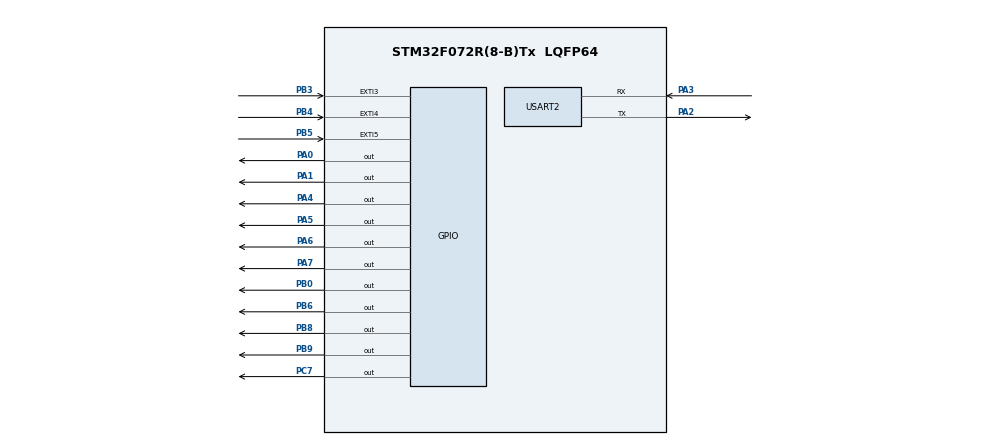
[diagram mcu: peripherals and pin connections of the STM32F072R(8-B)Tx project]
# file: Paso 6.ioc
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Mcu.Family=STM32F0
Mcu.Name=STM32F072R(8-B)Tx
Mcu.Package=LQFP64
NVIC.EXTI2_3_IRQn=true\:0\:0\:false\:false\:true\:true\:true
NVIC.EXTI4_15_IRQn=true\:0\:0\:false\:false\:true\:true\:true
NVIC.TIM1_BRK_UP_TRG_COM_IRQn=true\:0\:0\:false\:false\:true\:true\:true
PA0.Signal=GPIO_Output
PA1.Signal=GPIO_Output
PA13.Mode=Serial_Wire
PA13.Signal=SYS_SWDIO
PA14.Mode=Serial_Wire
PA14.Signal=SYS_SWCLK
PA2.Mode=Asynchronous
PA2.Signal=USART2_TX
PA3.Mode=Asynchronous
PA3.Signal=USART2_RX
PA4.Signal=GPIO_Output
PA5.Signal=GPIO_Output
PA6.Signal=GPIO_Output
PA7.Signal=GPIO_Output
PB0.Signal=GPIO_Output
PB3.Signal=GPXTI3
PB4.Signal=GPXTI4
PB5.Signal=GPXTI5
PB6.Signal=GPIO_Output
PB8.Signal=GPIO_Output
PB9.Signal=GPIO_Output
PC7.Signal=GPIO_Output
ProjectManager.HeapSize=0x600
ProjectManager.StackSize=0x1200
ProjectManager.TargetToolchain=TrueSTUDIO
TIM1.AutoReloadPreload=TIM_AUTORELOAD_PRELOAD_ENABLE
TIM1.Period=53332
TIM1.Prescaler=2999
USART2.VirtualMode-Asynchronous=VM_ASYNC
VP_TIM1_VS_ClockSourceINT.Mode=Internal
board=custom

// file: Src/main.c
/* USER CODE BEGIN Header */
/**
 ******************************************************************************
 * @file           : main.c
 * @brief          : Main program body
 ******************************************************************************
 * @attention
 *
 * <h2><center>&copy; Copyright (c) 2019 STMicroelectronics.
 * All rights reserved.</center></h2>
 *
 * This software component is licensed by ST under BSD 3-Clause license,
 * the "License"; You may not use this file except in compliance with the
 * License. You may obtain a copy of the License at:
 *                        opensource.org/licenses/BSD-3-Clause
 *
 ******************************************************************************
 */
/* USER CODE END Header */

#include "main.h"

/* USER CODE BEGIN Includes */
#include <stdlib.h>
#include <stdio.h>
#include "fsm.h"
#include "simon.h"
#include "uart_printf.h"
/* USER CODE END Includes */

TIM_HandleTypeDef htim1;

UART_HandleTypeDef huart2;

void SystemClock_Config(void);
static void MX_GPIO_Init(void);
static void MX_USART2_UART_Init(void);
static void MX_TIM1_Init(void);

/* USER CODE BEGIN 0 */
static void (*_IRQ_BTN_handler)(void*);
static void (*_IRQ_TMR_handler)(void*);

/* USER CODE END 0 */

int main(void)
{

  /* MCU Configuration--------------------------------------------------------*/

  /* Reset of all peripherals, Initializes the Flash interface and the Systick. */
  HAL_Init();

  /* Configure the system clock */
  SystemClock_Config();

  /* Initialize all configured peripherals */
  MX_GPIO_Init();
  MX_USART2_UART_Init();
  MX_TIM1_Init();
  /* USER CODE BEGIN 2 */
 //HAL_TIM_Base_Start_IT(&htim1); //Start the timer
  HAL_TIM_Base_Init(&htim1);
  //HAL_TIM_Base_Start_IT(&htim1);
	//LED Test
  //uart_printf("Begin! \n");
	simon_t* simon = simon_init(&htim1,HAL_GetTick());
	_IRQ_BTN_handler = simon->_IRQ_Handlers[0];
	_IRQ_TMR_handler = simon->_IRQ_Handlers[1];
	//simon->game_flags |= 0x01;
	//Generic FSM type holder
	/* En caso de que haya mas de 1 maquina de estados podemos meterlas todas
	 dentro de un array del tipo fsm, de esta forma podemos hacer el bucle while generico para disparar
	 todas las maquinas de estados */
	fsm_t* simon_fsm = (fsm_t*)simon;
  /* USER CODE END 2 */

  /* Infinite loop */
	while (1) {

    /* USER CODE BEGIN 3 */
		fsm_fire(simon_fsm);
	}
  /* USER CODE END 3 */
}

void SystemClock_Config(void)
{
  RCC_OscInitTypeDef RCC_OscInitStruct = {0};
  RCC_ClkInitTypeDef RCC_ClkInitStruct = {0};
  RCC_PeriphCLKInitTypeDef PeriphClkInit = {0};

  /** Initializes the CPU, AHB and APB busses clocks
  */
  RCC_OscInitStruct.OscillatorType = RCC_OSCILLATORTYPE_HSI;
  RCC_OscInitStruct.HSIState = RCC_HSI_ON;
  RCC_OscInitStruct.HSICalibrationValue = RCC_HSICALIBRATION_DEFAULT;
  RCC_OscInitStruct.PLL.PLLState = RCC_PLL_NONE;
  if (HAL_RCC_OscConfig(&RCC_OscInitStruct) != HAL_OK)
  {
    Error_Handler();
  }
  /** Initializes the CPU, AHB and APB busses clocks
  */
  RCC_ClkInitStruct.ClockType = RCC_CLOCKTYPE_HCLK|RCC_CLOCKTYPE_SYSCLK
                              |RCC_CLOCKTYPE_PCLK1;
  RCC_ClkInitStruct.SYSCLKSource = RCC_SYSCLKSOURCE_HSI;
  RCC_ClkInitStruct.AHBCLKDivider = RCC_SYSCLK_DIV1;
  RCC_ClkInitStruct.APB1CLKDivider = RCC_HCLK_DIV1;

  if (HAL_RCC_ClockConfig(&RCC_ClkInitStruct, FLASH_LATENCY_0) != HAL_OK)
  {
    Error_Handler();
  }
  PeriphClkInit.PeriphClockSelection = RCC_PERIPHCLK_USART2;
  PeriphClkInit.Usart2ClockSelection = RCC_USART2CLKSOURCE_PCLK1;
  if (HAL_RCCEx_PeriphCLKConfig(&PeriphClkInit) != HAL_OK)
  {
    Error_Handler();
  }
}

static void MX_TIM1_Init(void)
{

  TIM_ClockConfigTypeDef sClockSourceConfig = {0};
  TIM_MasterConfigTypeDef sMasterConfig = {0};

  htim1.Instance = TIM1;
  htim1.Init.Prescaler = 2999;
  htim1.Init.CounterMode = TIM_COUNTERMODE_UP;
  htim1.Init.Period = 53332;
  htim1.Init.ClockDivision = TIM_CLOCKDIVISION_DIV1;
  htim1.Init.RepetitionCounter = 0;
  htim1.Init.AutoReloadPreload = TIM_AUTORELOAD_PRELOAD_ENABLE;
  if (HAL_TIM_Base_Init(&htim1) != HAL_OK)
  {
    Error_Handler();
  }
  sClockSourceConfig.ClockSource = TIM_CLOCKSOURCE_INTERNAL;
  if (HAL_TIM_ConfigClockSource(&htim1, &sClockSourceConfig) != HAL_OK)
  {
    Error_Handler();
  }
  sMasterConfig.MasterOutputTrigger = TIM_TRGO_RESET;
  sMasterConfig.MasterSlaveMode = TIM_MASTERSLAVEMODE_DISABLE;
  if (HAL_TIMEx_MasterConfigSynchronization(&htim1, &sMasterConfig) != HAL_OK)
  {
    Error_Handler();
  }

}

static void MX_USART2_UART_Init(void)
{

  huart2.Instance = USART2;
  huart2.Init.BaudRate = 38400;
  huart2.Init.WordLength = UART_WORDLENGTH_8B;
  huart2.Init.StopBits = UART_STOPBITS_1;
  huart2.Init.Parity = UART_PARITY_NONE;
  huart2.Init.Mode = UART_MODE_TX_RX;
  huart2.Init.HwFlowCtl = UART_HWCONTROL_NONE;
  huart2.Init.OverSampling = UART_OVERSAMPLING_16;
  huart2.Init.OneBitSampling = UART_ONE_BIT_SAMPLE_DISABLE;
  huart2.AdvancedInit.AdvFeatureInit = UART_ADVFEATURE_NO_INIT;
  if (HAL_UART_Init(&huart2) != HAL_OK)
  {
    Error_Handler();
  }

}

static void MX_GPIO_Init(void)
{
  GPIO_InitTypeDef GPIO_InitStruct = {0};

  /* GPIO Ports Clock Enable */
  __HAL_RCC_GPIOA_CLK_ENABLE();
  __HAL_RCC_GPIOB_CLK_ENABLE();
  __HAL_RCC_GPIOC_CLK_ENABLE();

  /*Configure GPIO pin Output Level */
  HAL_GPIO_WritePin(GPIOA, GPIO_PIN_0|GPIO_PIN_1|GPIO_PIN_4|GPIO_PIN_5
                          |GPIO_PIN_6|GPIO_PIN_7, GPIO_PIN_RESET);

  /*Configure GPIO pin Output Level */
  HAL_GPIO_WritePin(GPIOB, GPIO_PIN_0|GPIO_PIN_6|GPIO_PIN_8|GPIO_PIN_9, GPIO_PIN_RESET);

  /*Configure GPIO pin Output Level */
  HAL_GPIO_WritePin(GPIOC, GPIO_PIN_7, GPIO_PIN_RESET);

  /*Configure GPIO pins : PA0 PA1 PA4 PA5
                           PA6 PA7 */
  GPIO_InitStruct.Pin = GPIO_PIN_0|GPIO_PIN_1|GPIO_PIN_4|GPIO_PIN_5
                          |GPIO_PIN_6|GPIO_PIN_7;
  GPIO_InitStruct.Mode = GPIO_MODE_OUTPUT_PP;
  GPIO_InitStruct.Pull = GPIO_NOPULL;
  GPIO_InitStruct.Speed = GPIO_SPEED_FREQ_LOW;
  HAL_GPIO_Init(GPIOA, &GPIO_InitStruct);

  /*Configure GPIO pins : PB0 PB6 PB8 PB9 */
  GPIO_InitStruct.Pin = GPIO_PIN_0|GPIO_PIN_6|GPIO_PIN_8|GPIO_PIN_9;
  GPIO_InitStruct.Mode = GPIO_MODE_OUTPUT_PP;
  GPIO_InitStruct.Pull = GPIO_NOPULL;
  GPIO_InitStruct.Speed = GPIO_SPEED_FREQ_LOW;
  HAL_GPIO_Init(GPIOB, &GPIO_InitStruct);

  /*Configure GPIO pin : PC7 */
  GPIO_InitStruct.Pin = GPIO_PIN_7;
  GPIO_InitStruct.Mode = GPIO_MODE_OUTPUT_PP;
  GPIO_InitStruct.Pull = GPIO_NOPULL;
  GPIO_InitStruct.Speed = GPIO_SPEED_FREQ_LOW;
  HAL_GPIO_Init(GPIOC, &GPIO_InitStruct);

  /*Configure GPIO pins : PB3 PB4 PB5 */
  GPIO_InitStruct.Pin = GPIO_PIN_3|GPIO_PIN_4|GPIO_PIN_5;
  GPIO_InitStruct.Mode = GPIO_MODE_IT_RISING;
  GPIO_InitStruct.Pull = GPIO_NOPULL;
  HAL_GPIO_Init(GPIOB, &GPIO_InitStruct);

  /* EXTI interrupt init*/
  HAL_NVIC_SetPriority(EXTI2_3_IRQn, 0, 0);
  HAL_NVIC_EnableIRQ(EXTI2_3_IRQn);

  HAL_NVIC_SetPriority(EXTI4_15_IRQn, 0, 0);
  HAL_NVIC_EnableIRQ(EXTI4_15_IRQn);

}

/* USER CODE BEGIN 4 */
void HAL_GPIO_EXTI_Callback(uint16_t GPIO_Pin) {
	_IRQ_BTN_handler(&GPIO_Pin);
}

void HAL_TIM_PeriodElapsedCallback(TIM_HandleTypeDef *htim){
	if(htim->Instance == htim1.Instance){
		uart_printf("Interrumpo \r\n");
		if(_IRQ_TMR_handler != 0x00)
			_IRQ_TMR_handler(htim);
	}
}
/* USER CODE END 4 */

void Error_Handler(void)
{
}

/************************ (C) COPYRIGHT STMicroelectronics *****END OF FILE****/
